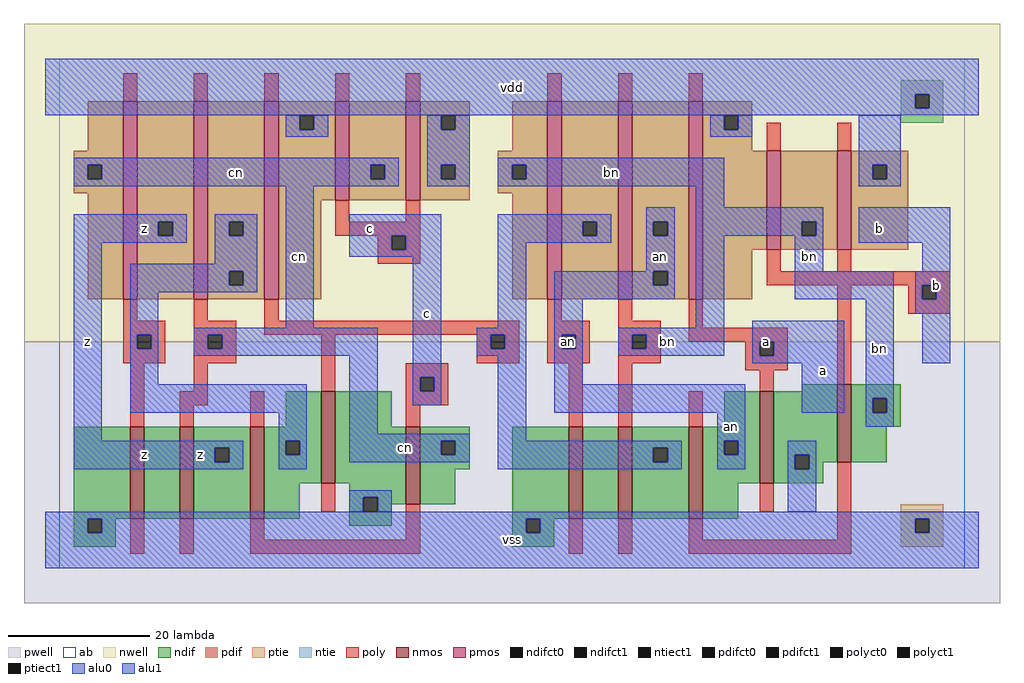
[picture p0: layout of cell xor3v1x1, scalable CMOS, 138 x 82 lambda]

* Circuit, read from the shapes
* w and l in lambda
.subckt xor3v1x1 a an b bn c cn vdd vss z
M1 n1 n2 vss vss nfet w=13 l=2
M2 z cn n1 vss nfet w=13 l=2
M3 n2 c z vss nfet w=13 l=2
M4 vss n3 n2 vss nfet w=13 l=2
M5 cn c vss vss nfet w=11 l=2
M6 n4 an vss vss nfet w=13 l=2
M7 n3 bn n4 vss nfet w=13 l=2
M8 an b n3 vss nfet w=13 l=2
M9 vss a an vss nfet w=13 l=2
M10 bn b vss vss nfet w=11 l=2
M11 z n2 cn vdd pfet w=28 l=2
M12 n2 cn z vdd pfet w=28 l=2
M13 vdd n3 n2 vdd pfet w=28 l=2
M14 cn c vdd vdd pfet w=14 l=2 m=2
M15 n3 an bn vdd pfet w=28 l=2
M16 an bn n3 vdd pfet w=28 l=2
M17 vdd a an vdd pfet w=28 l=2
M18 bn b vdd vdd pfet w=14 l=2 m=2
.ends

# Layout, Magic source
magic
tech scmos
<< ab >>
rect 0 0 128 72
<< nwell >>
rect -5 32 133 77
<< pwell >>
rect -5 -5 133 32
<< poly >>
rect 9 66 11 70
rect 19 66 21 70
rect 29 66 31 70
rect 39 66 41 70
rect 49 66 51 70
rect 69 66 71 70
rect 79 66 81 70
rect 89 66 91 70
rect 39 49 41 52
rect 49 49 51 52
rect 39 47 51 49
rect 45 45 47 47
rect 49 45 51 47
rect 45 43 51 45
rect 100 59 102 63
rect 110 59 112 63
rect 100 42 102 45
rect 110 42 112 45
rect 100 40 126 42
rect 9 35 11 38
rect 19 35 21 38
rect 29 35 31 38
rect 69 35 71 38
rect 79 35 81 38
rect 9 33 15 35
rect 9 31 11 33
rect 13 31 15 33
rect 9 29 15 31
rect 19 33 25 35
rect 29 33 65 35
rect 19 31 21 33
rect 23 31 25 33
rect 19 29 25 31
rect 10 20 12 29
rect 19 25 21 29
rect 37 25 39 33
rect 59 31 61 33
rect 63 31 65 33
rect 59 29 65 31
rect 69 33 75 35
rect 69 31 71 33
rect 73 31 75 33
rect 69 29 75 31
rect 79 33 85 35
rect 79 31 81 33
rect 83 31 85 33
rect 89 34 91 38
rect 89 32 103 34
rect 79 29 85 31
rect 97 30 99 32
rect 101 30 103 32
rect 49 27 55 29
rect 49 25 51 27
rect 53 25 55 27
rect 17 23 21 25
rect 17 20 19 23
rect 27 20 29 25
rect 49 23 55 25
rect 49 20 51 23
rect 72 20 74 29
rect 79 20 81 29
rect 97 28 103 30
rect 99 25 101 28
rect 110 26 112 40
rect 120 38 122 40
rect 124 38 126 40
rect 120 36 126 38
rect 89 20 91 25
rect 37 8 39 12
rect 10 2 12 7
rect 17 2 19 7
rect 27 4 29 7
rect 49 4 51 9
rect 27 2 51 4
rect 99 8 101 12
rect 72 2 74 7
rect 79 2 81 7
rect 89 4 91 7
rect 110 4 112 15
rect 89 2 112 4
<< ndif >>
rect 32 20 37 25
rect 2 7 10 20
rect 12 7 17 20
rect 19 17 27 20
rect 19 15 22 17
rect 24 15 27 17
rect 19 7 27 15
rect 29 18 37 20
rect 29 16 32 18
rect 34 16 37 18
rect 29 12 37 16
rect 39 20 47 25
rect 105 25 110 26
rect 94 20 99 25
rect 39 12 49 20
rect 29 7 34 12
rect 41 10 49 12
rect 41 8 43 10
rect 45 9 49 10
rect 51 18 58 20
rect 51 16 54 18
rect 56 16 58 18
rect 51 14 58 16
rect 51 9 56 14
rect 45 8 47 9
rect 2 5 4 7
rect 6 5 8 7
rect 2 3 8 5
rect 41 6 47 8
rect 64 7 72 20
rect 74 7 79 20
rect 81 17 89 20
rect 81 15 84 17
rect 86 15 89 17
rect 81 7 89 15
rect 91 18 99 20
rect 91 16 94 18
rect 96 16 99 18
rect 91 12 99 16
rect 101 16 110 25
rect 101 14 104 16
rect 106 15 110 16
rect 112 24 119 26
rect 112 22 115 24
rect 117 22 119 24
rect 112 20 119 22
rect 112 15 117 20
rect 106 14 108 15
rect 101 12 108 14
rect 91 7 96 12
rect 64 5 66 7
rect 68 5 70 7
rect 64 3 70 5
<< pdif >>
rect 4 59 9 66
rect 2 57 9 59
rect 2 55 4 57
rect 6 55 9 57
rect 2 53 9 55
rect 4 38 9 53
rect 11 49 19 66
rect 11 47 14 49
rect 16 47 19 49
rect 11 38 19 47
rect 21 49 29 66
rect 21 47 24 49
rect 26 47 29 49
rect 21 42 29 47
rect 21 40 24 42
rect 26 40 29 42
rect 21 38 29 40
rect 31 64 39 66
rect 31 62 34 64
rect 36 62 39 64
rect 31 52 39 62
rect 41 57 49 66
rect 41 55 44 57
rect 46 55 49 57
rect 41 52 49 55
rect 51 64 58 66
rect 51 62 54 64
rect 56 62 58 64
rect 51 57 58 62
rect 64 59 69 66
rect 51 55 54 57
rect 56 55 58 57
rect 51 52 58 55
rect 62 57 69 59
rect 62 55 64 57
rect 66 55 69 57
rect 62 53 69 55
rect 31 38 37 52
rect 64 38 69 53
rect 71 49 79 66
rect 71 47 74 49
rect 76 47 79 49
rect 71 38 79 47
rect 81 49 89 66
rect 81 47 84 49
rect 86 47 89 49
rect 81 42 89 47
rect 81 40 84 42
rect 86 40 89 42
rect 81 38 89 40
rect 91 64 98 66
rect 91 62 94 64
rect 96 62 98 64
rect 91 59 98 62
rect 91 45 100 59
rect 102 49 110 59
rect 102 47 105 49
rect 107 47 110 49
rect 102 45 110 47
rect 112 57 120 59
rect 112 55 115 57
rect 117 55 120 57
rect 112 45 120 55
rect 91 38 98 45
<< alu1 >>
rect -2 67 130 72
rect -2 65 121 67
rect 123 65 130 67
rect -2 64 130 65
rect 2 49 18 50
rect 2 47 14 49
rect 16 47 18 49
rect 2 46 18 47
rect 2 18 6 46
rect 41 47 54 50
rect 41 45 47 47
rect 49 45 54 47
rect 41 44 54 45
rect 2 17 26 18
rect 2 15 22 17
rect 24 15 26 17
rect 2 14 26 15
rect 50 27 54 44
rect 50 25 51 27
rect 53 25 54 27
rect 50 23 54 25
rect 113 46 126 51
rect 122 42 126 46
rect 98 32 111 35
rect 98 30 99 32
rect 101 30 111 32
rect 98 29 111 30
rect 105 22 111 29
rect 121 40 126 42
rect 121 38 122 40
rect 124 38 126 40
rect 121 36 126 38
rect 122 29 126 36
rect -2 7 130 8
rect -2 5 4 7
rect 6 5 66 7
rect 68 5 121 7
rect 123 5 130 7
rect -2 0 130 5
<< ptie >>
rect 119 7 125 9
rect 119 5 121 7
rect 123 5 125 7
rect 119 3 125 5
<< ntie >>
rect 119 67 125 69
rect 119 65 121 67
rect 123 65 125 67
rect 119 63 125 65
<< nmos >>
rect 10 7 12 20
rect 17 7 19 20
rect 27 7 29 20
rect 37 12 39 25
rect 49 9 51 20
rect 72 7 74 20
rect 79 7 81 20
rect 89 7 91 20
rect 99 12 101 25
rect 110 15 112 26
<< pmos >>
rect 9 38 11 66
rect 19 38 21 66
rect 29 38 31 66
rect 39 52 41 66
rect 49 52 51 66
rect 69 38 71 66
rect 79 38 81 66
rect 89 38 91 66
rect 100 45 102 59
rect 110 45 112 59
<< polyct0 >>
rect 11 31 13 33
rect 21 31 23 33
rect 61 31 63 33
rect 71 31 73 33
rect 81 31 83 33
<< polyct1 >>
rect 47 45 49 47
rect 99 30 101 32
rect 51 25 53 27
rect 122 38 124 40
<< ndifct0 >>
rect 32 16 34 18
rect 43 8 45 10
rect 54 16 56 18
rect 84 15 86 17
rect 94 16 96 18
rect 104 14 106 16
rect 115 22 117 24
<< ndifct1 >>
rect 22 15 24 17
rect 4 5 6 7
rect 66 5 68 7
<< ntiect1 >>
rect 121 65 123 67
<< ptiect1 >>
rect 121 5 123 7
<< pdifct0 >>
rect 4 55 6 57
rect 24 47 26 49
rect 24 40 26 42
rect 34 62 36 64
rect 44 55 46 57
rect 54 62 56 64
rect 54 55 56 57
rect 64 55 66 57
rect 74 47 76 49
rect 84 47 86 49
rect 84 40 86 42
rect 94 62 96 64
rect 105 47 107 49
rect 115 55 117 57
<< pdifct1 >>
rect 14 47 16 49
<< alu0 >>
rect 32 62 34 64
rect 36 62 38 64
rect 32 61 38 62
rect 52 62 54 64
rect 56 62 58 64
rect 2 57 48 58
rect 2 55 4 57
rect 6 55 44 57
rect 46 55 48 57
rect 2 54 48 55
rect 52 57 58 62
rect 92 62 94 64
rect 96 62 98 64
rect 92 61 98 62
rect 52 55 54 57
rect 56 55 58 57
rect 52 54 58 55
rect 62 57 94 58
rect 62 55 64 57
rect 66 55 94 57
rect 62 54 94 55
rect 113 57 119 64
rect 113 55 115 57
rect 117 55 119 57
rect 113 54 119 55
rect 22 49 28 50
rect 22 47 24 49
rect 26 47 28 49
rect 22 43 28 47
rect 10 42 28 43
rect 10 40 24 42
rect 26 40 28 42
rect 10 39 28 40
rect 10 33 14 39
rect 32 34 36 54
rect 90 51 94 54
rect 10 31 11 33
rect 13 31 14 33
rect 10 26 14 31
rect 19 33 45 34
rect 19 31 21 33
rect 23 31 45 33
rect 19 30 45 31
rect 10 22 35 26
rect 31 18 35 22
rect 31 16 32 18
rect 34 16 35 18
rect 31 14 35 16
rect 41 19 45 30
rect 62 49 78 50
rect 62 47 74 49
rect 76 47 78 49
rect 62 46 78 47
rect 83 49 87 51
rect 83 47 84 49
rect 86 47 87 49
rect 62 34 66 46
rect 83 42 87 47
rect 59 33 66 34
rect 59 31 61 33
rect 63 31 66 33
rect 59 30 66 31
rect 41 18 58 19
rect 41 16 54 18
rect 56 16 58 18
rect 41 15 58 16
rect 62 18 66 30
rect 70 40 84 42
rect 86 40 87 42
rect 70 38 87 40
rect 90 49 108 51
rect 90 47 105 49
rect 107 47 108 49
rect 70 33 74 38
rect 90 34 94 47
rect 104 42 108 47
rect 104 38 118 42
rect 70 31 71 33
rect 73 31 74 33
rect 70 26 74 31
rect 79 33 94 34
rect 79 31 81 33
rect 83 31 94 33
rect 79 30 94 31
rect 70 22 97 26
rect 114 24 118 38
rect 114 22 115 24
rect 117 22 118 24
rect 93 18 97 22
rect 114 20 118 22
rect 62 17 88 18
rect 62 15 84 17
rect 86 15 88 17
rect 62 14 88 15
rect 93 16 94 18
rect 96 16 97 18
rect 93 14 97 16
rect 103 16 107 18
rect 103 14 104 16
rect 106 14 107 16
rect 41 10 47 11
rect 41 8 43 10
rect 45 8 47 10
rect 103 8 107 14
<< labels >>
rlabel alu0 49 17 49 17 6 cn
rlabel alu0 25 56 25 56 6 cn
rlabel alu0 34 44 34 44 6 cn
rlabel alu0 85 44 85 44 6 an
rlabel polyct0 72 32 72 32 6 an
rlabel alu0 95 20 95 20 6 an
rlabel alu0 86 32 86 32 6 bn
rlabel alu0 106 44 106 44 6 bn
rlabel alu0 116 31 116 31 6 bn
rlabel alu0 78 56 78 56 6 bn
rlabel alu1 20 16 20 16 6 z
rlabel alu1 12 16 12 16 6 z
rlabel alu1 4 32 4 32 6 z
rlabel alu1 12 48 12 48 6 z
rlabel alu1 52 36 52 36 6 c
rlabel alu1 44 48 44 48 6 c
rlabel alu1 64 4 64 4 6 vss
rlabel alu1 64 68 64 68 6 vdd
rlabel alu1 100 32 100 32 6 a
rlabel alu1 108 28 108 28 6 a
rlabel alu1 124 40 124 40 6 b
rlabel alu1 116 48 116 48 6 b
<< end >>
